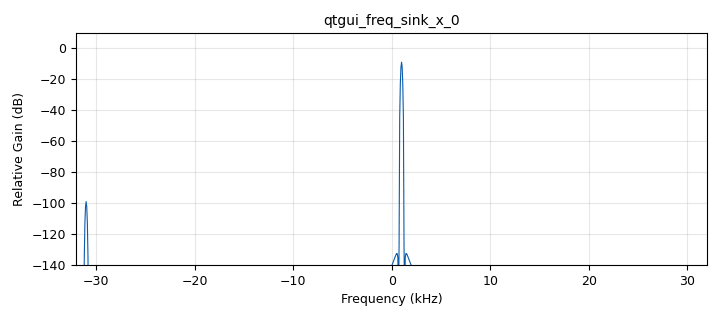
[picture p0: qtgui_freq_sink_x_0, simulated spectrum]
options:
  parameters:
    author: prakhar
    generate_options: qt_gui
    id: test_4
    output_language: python
    title: top_block
  states: {}

blocks:
- name: samp_rate
  id: variable
  parameters:
    value: '32000'
  states: {}
- name: analog_sig_source_x_0
  id: analog_sig_source_x
  parameters:
    amp: '1'
    freq: '1000'
    offset: '0'
    phase: '0'
    samp_rate: samp_rate
    type: complex
    waveform: analog.GR_COS_WAVE
  states: {}
- name: blocks_throttle_0
  id: blocks_throttle
  parameters:
    samples_per_second: samp_rate*2
    type: complex
  states: {}
- name: qtgui_freq_sink_x_0
  id: qtgui_freq_sink_x
  parameters:
    bw: samp_rate*2
    fc: '0'
    fftsize: '1024'
    type: complex
    wintype: firdes.WIN_BLACKMAN_hARRIS
  states: {}
- name: rational_resampler_xxx_0
  id: rational_resampler_xxx
  parameters:
    decim: '1'
    interp: '2'
    taps: ''
    type: ccc
  states: {}

connections:
- [analog_sig_source_x_0, '0', rational_resampler_xxx_0, '0']
- [blocks_throttle_0, '0', qtgui_freq_sink_x_0, '0']
- [rational_resampler_xxx_0, '0', blocks_throttle_0, '0']

metadata:
  file_format: 1
